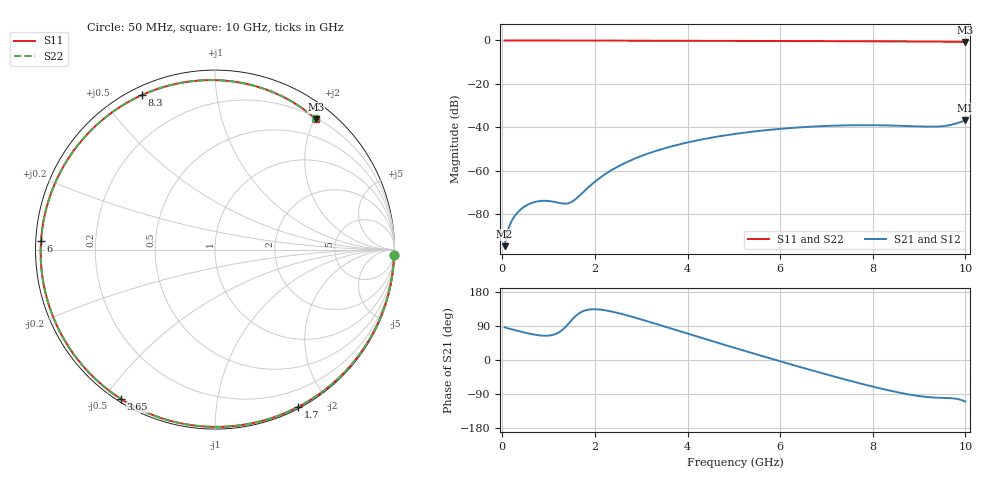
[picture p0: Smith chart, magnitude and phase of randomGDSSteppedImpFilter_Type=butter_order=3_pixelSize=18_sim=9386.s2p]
! freq	dB(S11)	phase(S11)	dB(S12)	phase(S12)
!  dB(S21)	phase(S21)	dB(S22)	phase(S22)
!S-par simulation data
#  GHz  S  DB  R 50
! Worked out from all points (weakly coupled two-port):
!   200 points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, 50 MHz to 10 GHz, reference 50 ohm
!   highest |S21| = -36.80 dB at 10 GHz (marker M1); lowest = -94.6 dB at 50 MHz (marker M2)
!   lowest |S11| = -0.7 dB at 10 GHz (marker M3), VSWR 23.57, Z = 10.9 + j101 ohm
!   |S11| at or under -10 dB: nowhere
!   |S22| runs from -0.7 to 0.0 dB; largest |S21 - S12| = 0
!   S11 on the Smith chart (normalised r, x): 50 MHz: 4, -62; 1.7 GHz: 0.02, -1.66; 3.65 GHz: 0.01, -0.55; 6 GHz: 0.02, +0.03; 8.3 GHz: 0.03, +0.63; 10 GHz: 0.22, +2.02
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0.05  -0.02 -1.8  -94.59 86.4  -94.59 86.4  -0.02 -1.8
0.3  -0.02 -11.4  -79.82 78.0  -79.82 78.0  -0.02 -11.4
0.5  -0.03 -18.9  -76.12 71.8  -76.12 71.8  -0.03 -18.9
0.75  -0.04 -28.2  -74.06 65.8  -74.06 65.8  -0.04 -28.2
1.45  -0.07 -53.5  -74.70 98.8  -74.70 98.8  -0.07 -53.5
1.7  -0.08 -62.2  -70.73 126.3  -70.73 126.3  -0.08 -62.2
1.75  -0.08 -63.9  -69.71 129.1  -69.71 129.1  -0.08 -63.9
2.1  -0.09 -75.5  -63.31 133.2  -63.31 133.2  -0.09 -75.5
2.45  -0.10 -86.8  -58.53 125.4  -58.53 125.4  -0.10 -86.8
2.9  -0.12 -100.6  -54.00 110.6  -54.00 110.6  -0.12 -100.6
3.4  -0.14 -115.1  -50.25 92.3  -50.25 92.3  -0.14 -115.1
3.65  -0.14 -122.2  -48.74 82.9  -48.74 82.9  -0.14 -122.1
4.35  -0.17 -141.0  -45.36 56.6  -45.36 56.6  -0.17 -141.0
5.05  -0.21 -159.1  -42.92 30.8  -42.92 30.8  -0.21 -159.0
6  -0.26 177.0  -40.65 -3.4  -40.65 -3.4  -0.26 177.1
6.7  -0.31 159.2  -39.61 -27.8  -39.61 -27.8  -0.31 159.3
7.5  -0.36 138.1  -39.02 -54.6  -39.02 -54.6  -0.36 138.1
8.3  -0.42 115.2  -39.07 -78.9  -39.07 -78.9  -0.42 115.3
8.35  -0.43 113.7  -39.09 -80.3  -39.09 -80.3  -0.43 113.8
9.25  -0.52 83.8  -39.66 -98.5  -39.66 -98.5  -0.52 84.0
9.6  -0.59 70.2  -39.18 -100.3  -39.18 -100.3  -0.58 70.5
10  -0.74 52.2  -36.80 -109.8  -36.80 -109.8  -0.73 52.6
